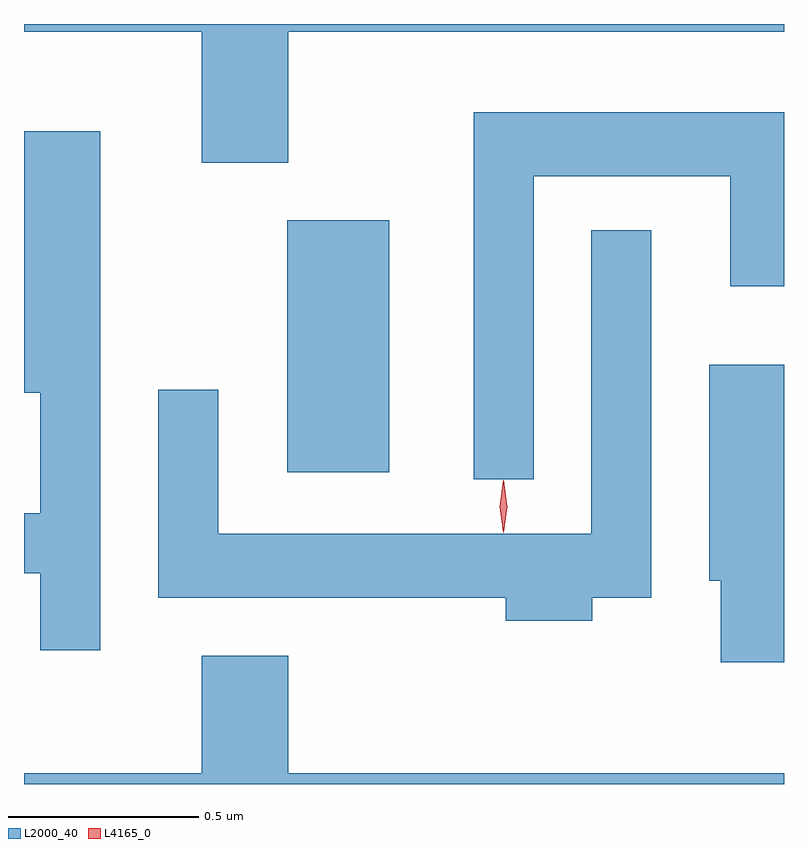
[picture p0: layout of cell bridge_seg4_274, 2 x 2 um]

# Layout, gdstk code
import gdstk
lib = gdstk.Library(unit=1e-6, precision=1e-09)
def R(c, l, rs):  # rectangles x0, y0, x1, y1
    for r in rs: c.add(gdstk.rectangle(r[:2], r[2:], *l))
def P(c, l, *ps):  # polygons
    for p in ps: c.add(gdstk.Polygon(p, *l))
L2000_40 = (2000, 40)
L4165_0 = (4165, 0)

bridge_seg4_274 = lib.new_cell('bridge_seg4_274')
R(bridge_seg4_274, L2000_40, [(521.256,1335.756,521.524,1336.419)])
P(bridge_seg4_274, L2000_40, [(521.259,1336.916),(522.563,1336.916),(522.563,1336.936),(520.563,1336.936),(520.563,1336.916),(521.031,1336.916),(521.031,1336.571),(521.259,1336.571)],
  [(521.904,1336.536),(522.421,1336.536),(522.421,1336.246),(522.563,1336.246),(522.563,1336.704),(521.746,1336.704),(521.746,1335.738),(521.904,1335.738)],
  [(520.764,1336.654),(520.563,1336.654),(520.563,1335.966),(520.606,1335.966),(520.606,1335.649),(520.563,1335.649),(520.563,1335.491),(520.606,1335.491),(520.606,1335.288),(520.764,1335.288)],
  [(522.059,1335.426),(522.214,1335.426),(522.214,1336.393),(522.056,1336.393),(522.056,1335.594),(521.074,1335.594),(521.074,1335.973),(520.916,1335.973),(520.916,1335.426),(521.831,1335.426),(521.831,1335.366),(522.059,1335.366)],
  [(522.563,1336.039),(522.366,1336.039),(522.366,1335.471),(522.396,1335.471),(522.396,1335.256),(522.563,1335.256)],
  [(522.563,1334.964),(521.259,1334.964),(521.259,1335.274),(521.031,1335.274),(521.031,1334.964),(520.563,1334.964),(520.563,1334.936),(522.563,1334.936)])
P(bridge_seg4_274, L4165_0, [(521.825,1335.599),(521.824,1335.6),(521.815,1335.666),(521.824,1335.732),(521.825,1335.733),(521.825,1335.732),(521.835,1335.666),(521.825,1335.6)],
  [(521.825,1335.597),(521.824,1335.598),(521.815,1335.666),(521.824,1335.736),(521.825,1335.736),(521.826,1335.736),(521.835,1335.666),(521.826,1335.598)])

lib.write_gds('bridge_seg4_274.gds')
